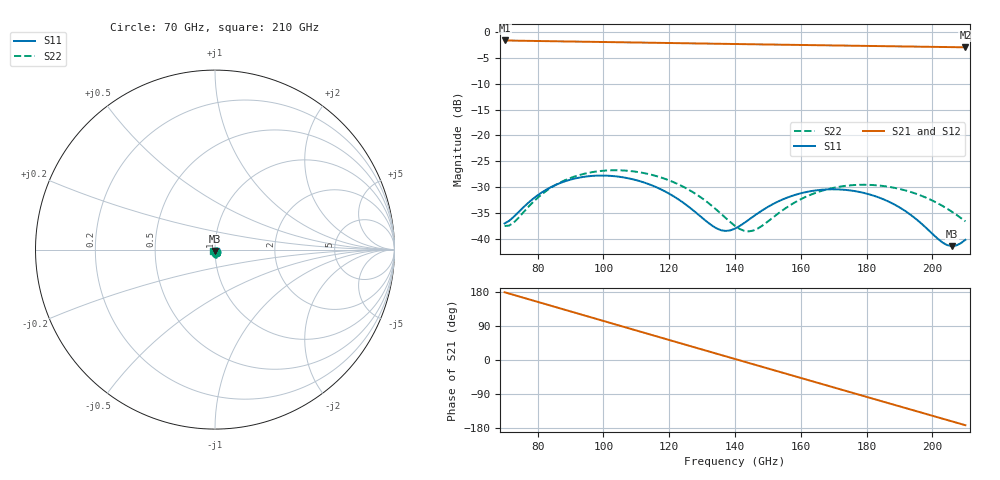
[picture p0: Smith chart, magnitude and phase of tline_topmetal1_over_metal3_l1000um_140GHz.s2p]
#  GHZ S DB R 50
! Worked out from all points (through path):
!   101 points, 70 GHz to 210 GHz, reference 50 ohm
!   highest |S21| = -1.70 dB at 70 GHz (marker M1); lowest = -3.0 dB at 210 GHz (marker M2)
!   group delay of S21, straight-line fit = 6.96 ps
!   lowest |S11| = -41.3 dB at 205.8 GHz (marker M3), VSWR 1.02, Z = 50.2 - j0.837 ohm
!   |S11| at or under -10 dB: start of sweep to end of sweep
!   |S22| runs from -38.5 to -26.7 dB; largest |S21 - S12| = 9e-14
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70  -36.95 -56.0  -1.70 178.8  -1.70 178.8  -37.44 -73.2
72.8  -35.66 -40.4  -1.73 171.7  -1.73 171.7  -36.76 -52.0
81.2  -31.01 -31.4  -1.82 150.5  -1.82 150.5  -31.38 -34.7
86.8  -29.18 -37.7  -1.87 136.4  -1.87 136.4  -29.08 -40.4
93.8  -28.00 -49.4  -1.94 118.8  -1.94 118.8  -27.44 -52.4
105  -27.97 -70.4  -2.04 90.5  -2.04 90.5  -26.71 -74.7
110.6  -28.71 -80.5  -2.10 76.4  -2.10 76.4  -27.05 -86.1
117.6  -30.41 -91.5  -2.17 58.8  -2.17 58.8  -28.11 -99.6
126  -33.77 -97.9  -2.25 37.8  -2.25 37.8  -30.47 -113.1
134.4  -37.90 -81.9  -2.33 16.7  -2.33 16.7  -34.32 -117.7
140  -37.94 -57.2  -2.38 2.7  -2.38 2.7  -37.42 -106.8
142.8  -36.86 -48.7  -2.41 -4.4  -2.41 -4.4  -38.38 -94.5
145.6  -35.59 -44.3  -2.44 -11.4  -2.44 -11.4  -38.31 -80.5
154  -32.46 -46.7  -2.51 -32.4  -2.51 -32.4  -34.62 -61.1
163.8  -30.65 -60.9  -2.60 -56.9  -2.60 -56.9  -31.22 -68.8
175  -30.59 -81.0  -2.70 -84.9  -2.70 -84.9  -29.61 -87.8
180.6  -31.31 -90.8  -2.75 -98.8  -2.75 -98.8  -29.51 -98.4
187.6  -33.02 -101.5  -2.82 -116.3  -2.82 -116.3  -29.99 -111.5
197.4  -37.41 -106.2  -2.91 -140.7  -2.91 -140.7  -31.81 -128.0
203  -40.60 -91.5  -2.96 -154.7  -2.96 -154.7  -33.55 -134.9
205.8  -41.33 -76.1  -2.98 -161.6  -2.98 -161.6  -34.65 -136.9
210  -40.10 -54.4  -3.02 -172.1  -3.02 -172.1  -36.55 -136.8
